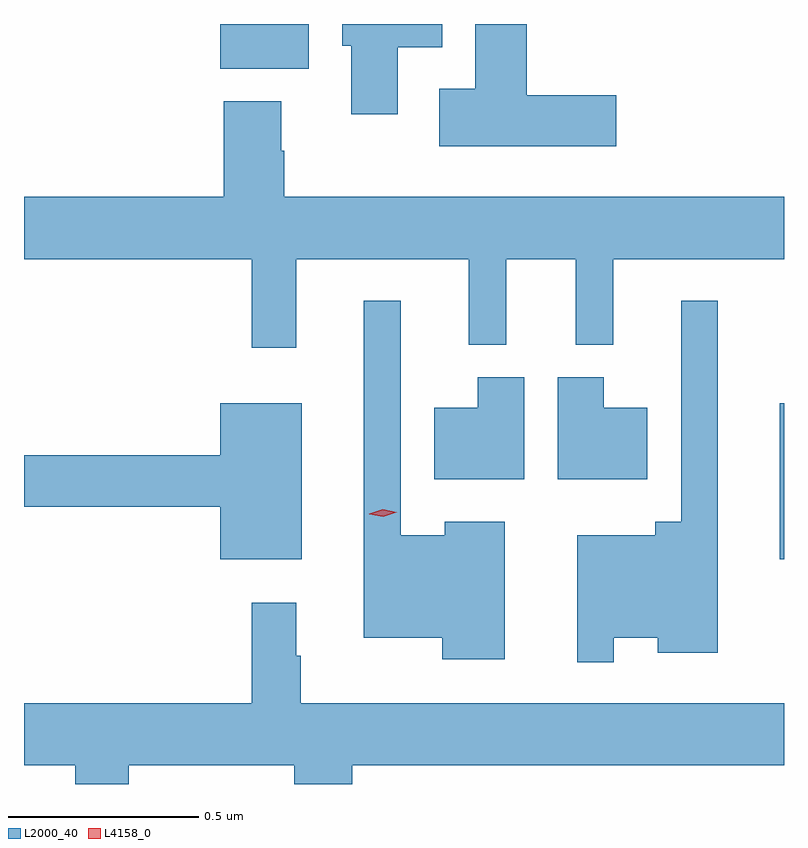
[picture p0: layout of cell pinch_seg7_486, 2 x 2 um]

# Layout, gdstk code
import gdstk
lib = gdstk.Library(unit=1e-6, precision=1e-09)
def R(c, l, rs):  # rectangles x0, y0, x1, y1
    for r in rs: c.add(gdstk.rectangle(r[:2], r[2:], *l))
def P(c, l, *ps):  # polygons
    for p in ps: c.add(gdstk.Polygon(p, *l))
L2000_40 = (2000, 40)
L4158_0 = (4158, 0)

pinch_seg7_486 = lib.new_cell('pinch_seg7_486')
R(pinch_seg7_486, L2000_40, [(219.443,1071.755,219.454,1072.165), (217.97,1073.045,218.203,1073.163)])
P(pinch_seg7_486, L2000_40, [(218.437,1073.102),(218.554,1073.102),(218.554,1073.163),(218.291,1073.163),(218.291,1073.106),(218.315,1073.106),(218.315,1072.926),(218.437,1072.926)],
  [(219.013,1072.976),(218.777,1072.976),(218.777,1073.163),(218.642,1073.163),(218.642,1072.993),(218.547,1072.993),(218.547,1072.841),(219.013,1072.841)],
  [(218.171,1072.544),(218.624,1072.544),(218.624,1072.319),(218.723,1072.319),(218.723,1072.544),(218.906,1072.544),(218.906,1072.319),(219.005,1072.319),(219.005,1072.544),(219.454,1072.544),(219.454,1072.708),(218.139,1072.708),(218.139,1072.829),(218.131,1072.829),(218.131,1072.96),(217.979,1072.96),(217.979,1072.708),(217.454,1072.708),(217.454,1072.544),(218.053,1072.544),(218.053,1072.311),(218.171,1072.311)],
  [(218.719,1071.853),(218.561,1071.853),(218.561,1071.817),(218.445,1071.817),(218.445,1072.435),(218.348,1072.435),(218.348,1071.548),(218.554,1071.548),(218.554,1071.491),(218.719,1071.491)],
  [(219.006,1071.548),(219.122,1071.548),(219.122,1071.509),(219.28,1071.509),(219.28,1072.435),(219.183,1072.435),(219.183,1071.853),(219.115,1071.853),(219.115,1071.817),(218.91,1071.817),(218.91,1071.483),(219.006,1071.483)],
  [(218.77,1072.234),(218.648,1072.234),(218.648,1072.153),(218.534,1072.153),(218.534,1071.965),(218.77,1071.965)],
  [(219.094,1072.153),(218.98,1072.153),(218.98,1072.234),(218.858,1072.234),(218.858,1071.965),(219.094,1071.965)],
  [(218.185,1072.165),(217.97,1072.165),(217.97,1072.028),(217.454,1072.028),(217.454,1071.892),(217.97,1071.892),(217.97,1071.755),(218.185,1071.755)],
  [(217.729,1071.212),(218.165,1071.212),(218.165,1071.163),(218.318,1071.163),(218.318,1071.212),(219.454,1071.212),(219.454,1071.376),(218.182,1071.376),(218.182,1071.5),(218.17,1071.5),(218.17,1071.64),(218.053,1071.64),(218.053,1071.376),(217.454,1071.376),(217.454,1071.212),(217.589,1071.212),(217.589,1071.163),(217.729,1071.163)])
P(pinch_seg7_486, L4158_0, [(218.4,1071.866),(218.363,1071.873),(218.363,1071.874),(218.363,1071.874),(218.398,1071.886),(218.435,1071.878),(218.435,1071.878),(218.435,1071.878)])

lib.write_gds('pinch_seg7_486.gds')
